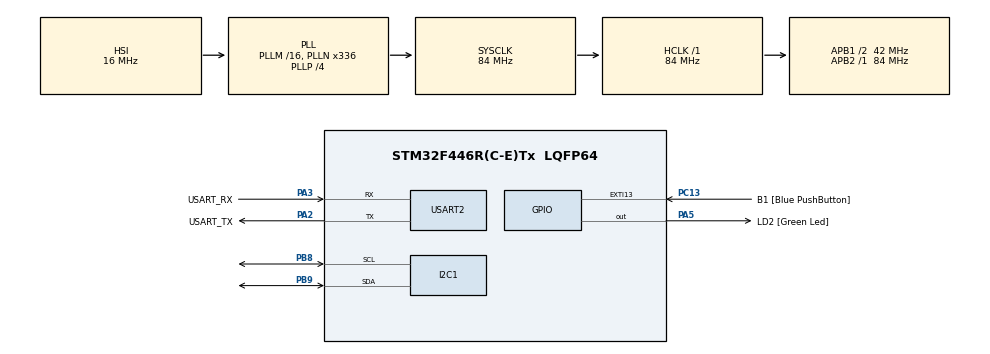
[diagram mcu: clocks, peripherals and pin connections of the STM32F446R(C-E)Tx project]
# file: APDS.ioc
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Mcu.Family=STM32F4
Mcu.Name=STM32F446R(C-E)Tx
Mcu.Package=LQFP64
NVIC.PriorityGroup=NVIC_PRIORITYGROUP_0
PA13.GPIO_Label=TMS
PA13.Mode=Serial_Wire
PA13.Signal=SYS_JTMS-SWDIO
PA14.GPIO_Label=TCK
PA14.Mode=Serial_Wire
PA14.Signal=SYS_JTCK-SWCLK
PA2.GPIO_Label=USART_TX
PA2.Mode=Asynchronous
PA2.Signal=USART2_TX
PA3.GPIO_Label=USART_RX
PA3.Mode=Asynchronous
PA3.Signal=USART2_RX
PA5.GPIO_Label=LD2 [Green Led]
PA5.Signal=GPIO_Output
PB3.GPIO_Label=SWO
PB3.Signal=SYS_JTDO-SWO
PB8.Mode=I2C
PB8.Signal=I2C1_SCL
PB9.Mode=I2C
PB9.Signal=I2C1_SDA
PC13.GPIO_Label=B1 [Blue PushButton]
PC13.GPIO_ModeDefaultEXTI=GPIO_MODE_IT_FALLING
PC13.Signal=GPXTI13
PC14-OSC32_IN.Mode=LSE-External-Oscillator
PC14-OSC32_IN.Signal=RCC_OSC32_IN
PC15-OSC32_OUT.Mode=LSE-External-Oscillator
PC15-OSC32_OUT.Signal=RCC_OSC32_OUT
PH0-OSC_IN.Mode=HSE-External-Oscillator
PH0-OSC_IN.Signal=RCC_OSC_IN
PH1-OSC_OUT.Mode=HSE-External-Oscillator
PH1-OSC_OUT.Signal=RCC_OSC_OUT
ProjectManager.HeapSize=0x200
ProjectManager.StackSize=0x400
ProjectManager.TargetToolchain=STM32CubeIDE
RCC.48MHZClocksFreq_Value=84000000
RCC.AHBFreq_Value=84000000
RCC.APB1CLKDivider=RCC_HCLK_DIV2
RCC.APB1Freq_Value=42000000
RCC.APB1TimFreq_Value=84000000
RCC.APB2Freq_Value=84000000
RCC.APB2TimFreq_Value=84000000
RCC.CortexFreq_Value=84000000
RCC.FLatency-AdvancedSettings=FLASH_LATENCY_2
RCC.HCLKFreq_Value=84000000
RCC.HSE_VALUE=8000000
RCC.HSI_VALUE=16000000
RCC.PLLN=336
RCC.PLLP=RCC_PLLP_DIV4
RCC.SYSCLKFreq_VALUE=84000000
RCC.SYSCLKSource=RCC_SYSCLKSOURCE_PLLCLK
RCC.USBFreq_Value=168000000
RCC.VCOOutputFreq_Value=336000000
USART2.VirtualMode=VM_ASYNC
board=NUCLEO-F446RE

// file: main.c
/* USER CODE BEGIN Header */
/**
  ******************************************************************************
  * @file           : main.c
  * @brief          : Main program body
  ******************************************************************************
  * @attention
  *
  * Copyright (c) 2024 STMicroelectronics.
  * All rights reserved.
  *
  * This software is licensed under terms that can be found in the LICENSE file
  * in the root directory of this software component.
  * If no LICENSE file comes with this software, it is provided AS-IS.
  *
  ******************************************************************************
  */
/* USER CODE END Header */
#include "main.h"

/* USER CODE BEGIN Includes */

#include <string.h>
#include <stdio.h>

/* USER CODE END Includes */

/* USER CODE BEGIN PD */
#define ColorAddress 0x39 << 1
#define ColorEnable 0x80
#define ColorClear 0x94
#define ColorControl 0x8F

static const uint8_t TempAddress = 0x48 << 1;
static const uint8_t TempReg = 0x00;
/* USER CODE END PD */

I2C_HandleTypeDef hi2c1;

UART_HandleTypeDef huart2;

void SystemClock_Config(void);
static void MX_GPIO_Init(void);
static void MX_USART2_UART_Init(void);
static void MX_I2C1_Init(void);

int main(void)
{

  /* USER CODE BEGIN 1 */

	HAL_StatusTypeDef ret;

	uint8_t enableData[] = {0x1B}; // Enable Power ON and ALS
	uint8_t Tbuf[16]; 			   // Buffer for temperature analysis

	int16_t val;				   // Temporary 16 bit signed integer variable
	float temp_c;				   // transmitted temperature data as decimal

  /* USER CODE END 1 */

  /* MCU Configuration--------------------------------------------------------*/

  /* Reset of all peripherals, Initializes the Flash interface and the Systick. */
  HAL_Init();

  /* Configure the system clock */
  SystemClock_Config();

  /* Initialize all configured peripherals */
  MX_GPIO_Init();
  MX_USART2_UART_Init();
  MX_I2C1_Init();
  /* USER CODE BEGIN 2 */

  void ColorPON(void)
  {
	  HAL_I2C_Mem_Write(&hi2c1, ColorAddress, ColorEnable, 1, enableData, 1, 1000);
	  HAL_Delay(10);
	  //HAL_I2C_Mem_Write(&hi2c1, ColorAddress, ColorControl, 1, LEDData, 1, 1000);
  }

  uint8_t TurnOff[] = {0x00};
  void ColorPOFF(void)
  {
	  HAL_I2C_Mem_Write(&hi2c1, ColorAddress, ColorEnable, 1, TurnOff, 8, 1000);
	  HAL_Delay(200);
  }

  void ColorRead(uint16_t* Clear, uint16_t* Red, uint16_t* Green, uint16_t* Blue)
  {
	  uint8_t ClearData[2];
	  uint8_t RedData[2];
	  uint8_t GreenData[2];
	  uint8_t BlueData[2];
	  HAL_I2C_Mem_Read(&hi2c1, ColorAddress, ColorClear, 1, ClearData, 2, 1000);
	  HAL_I2C_Mem_Read(&hi2c1, ColorAddress, ColorClear, 1, RedData, 2, 1000);
	  HAL_I2C_Mem_Read(&hi2c1, ColorAddress, ColorClear, 1, GreenData, 2, 1000);
	  HAL_I2C_Mem_Read(&hi2c1, ColorAddress, ColorClear, 1, BlueData, 2, 1000);

	  *Clear = ((uint16_t)ClearData[1] << 8) | ClearData[0];
	  *Red = ((uint16_t)RedData[1] << 8) | RedData[0];
	  *Green = ((uint16_t)GreenData[1] << 8) | GreenData[0];
	  *Blue = ((uint16_t)BlueData[1] << 8) | BlueData[0];

  }

  /* USER CODE END 2 */

  /* Infinite loop */
  /* USER CODE BEGIN WHILE */
  while (1)
  {

	  // Tells TempSensor what to read from the temperature register
	  Tbuf[0] = TempReg;
	  ret = HAL_I2C_Master_Transmit(&hi2c1, TempAddress, Tbuf, 1, HAL_MAX_DELAY);
	  if(ret != HAL_OK)
	  {
		  strcpy((char*)Tbuf, "Error Tx\r\n");
	  }
	  else 	// Read 2 bytes from the temperature register
	  {
		  ret = HAL_I2C_Master_Receive(&hi2c1, TempAddress, Tbuf, 2, HAL_MAX_DELAY);
		  if(ret != HAL_OK)
		  {
			  strcpy((char*)Tbuf, "Error Rx\r\n");
		  }
		  else	// If no error combine bytes
		  {
			  val = ((int16_t)Tbuf[0] << 8) | (Tbuf[1] >> 8);

			  // Convert to float value in Celsius
			  temp_c = val * 0.0078;
		  }
	  }

	  HAL_UART_Transmit(&huart2, Tbuf, strlen((char*)Tbuf), HAL_MAX_DELAY);
	  HAL_Delay(500);

	  ColorPON();

	  uint16_t Clear, Red, Green, Blue;
	  ColorRead(&Clear, &Red, &Green, &Blue);

	  HAL_Delay(500);

	  ColorPOFF();

    /* USER CODE END WHILE */

  }
}

void SystemClock_Config(void)
{
  RCC_OscInitTypeDef RCC_OscInitStruct = {0};
  RCC_ClkInitTypeDef RCC_ClkInitStruct = {0};

  /** Configure the main internal regulator output voltage
  */
  __HAL_RCC_PWR_CLK_ENABLE();
  __HAL_PWR_VOLTAGESCALING_CONFIG(PWR_REGULATOR_VOLTAGE_SCALE3);

  /** Initializes the RCC Oscillators according to the specified parameters
  * in the RCC_OscInitTypeDef structure.
  */
  RCC_OscInitStruct.OscillatorType = RCC_OSCILLATORTYPE_HSI;
  RCC_OscInitStruct.HSIState = RCC_HSI_ON;
  RCC_OscInitStruct.HSICalibrationValue = RCC_HSICALIBRATION_DEFAULT;
  RCC_OscInitStruct.PLL.PLLState = RCC_PLL_ON;
  RCC_OscInitStruct.PLL.PLLSource = RCC_PLLSOURCE_HSI;
  RCC_OscInitStruct.PLL.PLLM = 16;
  RCC_OscInitStruct.PLL.PLLN = 336;
  RCC_OscInitStruct.PLL.PLLP = RCC_PLLP_DIV4;
  RCC_OscInitStruct.PLL.PLLQ = 2;
  RCC_OscInitStruct.PLL.PLLR = 2;
  if (HAL_RCC_OscConfig(&RCC_OscInitStruct) != HAL_OK)
  {
    Error_Handler();
  }

  /** Initializes the CPU, AHB and APB buses clocks
  */
  RCC_ClkInitStruct.ClockType = RCC_CLOCKTYPE_HCLK|RCC_CLOCKTYPE_SYSCLK
                              |RCC_CLOCKTYPE_PCLK1|RCC_CLOCKTYPE_PCLK2;
  RCC_ClkInitStruct.SYSCLKSource = RCC_SYSCLKSOURCE_PLLCLK;
  RCC_ClkInitStruct.AHBCLKDivider = RCC_SYSCLK_DIV1;
  RCC_ClkInitStruct.APB1CLKDivider = RCC_HCLK_DIV2;
  RCC_ClkInitStruct.APB2CLKDivider = RCC_HCLK_DIV1;

  if (HAL_RCC_ClockConfig(&RCC_ClkInitStruct, FLASH_LATENCY_2) != HAL_OK)
  {
    Error_Handler();
  }
}

static void MX_I2C1_Init(void)
{

  hi2c1.Instance = I2C1;
  hi2c1.Init.ClockSpeed = 100000;
  hi2c1.Init.DutyCycle = I2C_DUTYCYCLE_2;
  hi2c1.Init.OwnAddress1 = 0;
  hi2c1.Init.AddressingMode = I2C_ADDRESSINGMODE_7BIT;
  hi2c1.Init.DualAddressMode = I2C_DUALADDRESS_DISABLE;
  hi2c1.Init.OwnAddress2 = 0;
  hi2c1.Init.GeneralCallMode = I2C_GENERALCALL_DISABLE;
  hi2c1.Init.NoStretchMode = I2C_NOSTRETCH_DISABLE;
  if (HAL_I2C_Init(&hi2c1) != HAL_OK)
  {
    Error_Handler();
  }

}

static void MX_USART2_UART_Init(void)
{

  huart2.Instance = USART2;
  huart2.Init.BaudRate = 115200;
  huart2.Init.WordLength = UART_WORDLENGTH_8B;
  huart2.Init.StopBits = UART_STOPBITS_1;
  huart2.Init.Parity = UART_PARITY_NONE;
  huart2.Init.Mode = UART_MODE_TX_RX;
  huart2.Init.HwFlowCtl = UART_HWCONTROL_NONE;
  huart2.Init.OverSampling = UART_OVERSAMPLING_16;
  if (HAL_UART_Init(&huart2) != HAL_OK)
  {
    Error_Handler();
  }

}

static void MX_GPIO_Init(void)
{
  GPIO_InitTypeDef GPIO_InitStruct = {0};

  /* GPIO Ports Clock Enable */
  __HAL_RCC_GPIOC_CLK_ENABLE();
  __HAL_RCC_GPIOH_CLK_ENABLE();
  __HAL_RCC_GPIOA_CLK_ENABLE();
  __HAL_RCC_GPIOB_CLK_ENABLE();

  /*Configure GPIO pin Output Level */
  HAL_GPIO_WritePin(LD2_GPIO_Port, LD2_Pin, GPIO_PIN_RESET);

  /*Configure GPIO pin : B1_Pin */
  GPIO_InitStruct.Pin = B1_Pin;
  GPIO_InitStruct.Mode = GPIO_MODE_IT_FALLING;
  GPIO_InitStruct.Pull = GPIO_NOPULL;
  HAL_GPIO_Init(B1_GPIO_Port, &GPIO_InitStruct);

  /*Configure GPIO pin : LD2_Pin */
  GPIO_InitStruct.Pin = LD2_Pin;
  GPIO_InitStruct.Mode = GPIO_MODE_OUTPUT_PP;
  GPIO_InitStruct.Pull = GPIO_NOPULL;
  GPIO_InitStruct.Speed = GPIO_SPEED_FREQ_LOW;
  HAL_GPIO_Init(LD2_GPIO_Port, &GPIO_InitStruct);

}

void Error_Handler(void)
{
  __disable_irq();
  while (1)
  {
  }
}
